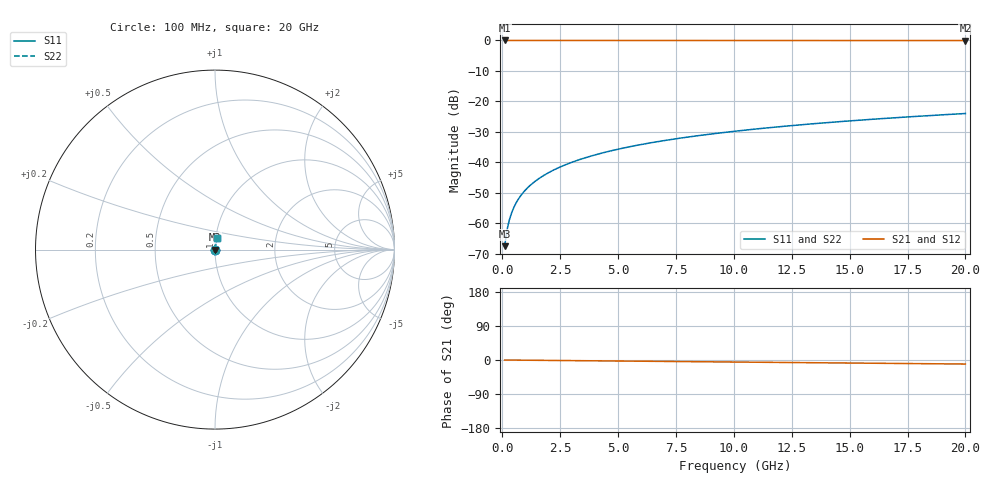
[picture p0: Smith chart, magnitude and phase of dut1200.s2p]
! Touchstone file exported from HFSS 2026.1.0
!  File:  C:/ffzhzh/LocalFiles/Ansys_Project_Files/temp_train_TSV_1200_1783192615_22436.aedt
!  Generated:  03:18:39 AM Jul  5, 2026
!  Design:  TSV
!  Project:  temp_train_TSV_1200_1783192615_22436
! Variables:
!  h_bsmrdl = 2um
!  h_ox = 20um
!  h_rdl = 5um
!  h_sub = 99.35um
!  h_tmrdl = 5um
!  h_tsv = 99.35um
!  h_via = 3um
!  l_bsmrdl = 300um
!  l_sub = 416.28um
!  l_tmrdl = 200um
!  m_sub = 200um
!  pitch = 53.07um
!  r_tsv = 8.14um
!  s_tmrdl = 10um
!  w_bsmrdl = 18um
!  w_sub = 500um
!  w_tmrdl = 12um
!  x_tsv_center1 = 206um
!  x_tsv_center2 = 524um
!  x_tsv_center3 = 736um
!  x_tsv_center4 = 1054um
!  x_tsv_center5 = 1266um
!  x_tsv_center6 = 1584um
# GHz S MA R 50.000000
! Terminal data exported
! Port[1] = TSV1_1_T1
! Port[2] = TSV1_1_T2
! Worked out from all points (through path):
!   200 points, 100 MHz to 20 GHz, reference 50 ohm
!   highest |S21| = 0.00 dB at 100 MHz (marker M1); lowest = 0.0 dB at 20 GHz (marker M2)
!   group delay of S21, straight-line fit = 1.48 ps
!   lowest |S11| = -67.5 dB at 100 MHz (marker M3), VSWR 1.00, Z = 50 + j0.0368 ohm
!   |S11| at or under -10 dB: start of sweep to end of sweep
!   |S22| runs from -67.5 to -24.0 dB; largest |S21 - S12| = 5.3e-15
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0.1  0.0004214 60.8  0.9998 -0.1  0.9998 -0.1  0.0004214 60.8
! Gamma 0 0 0 0
! Port Impedance 50 0 50 0
0.2  0.000765 73.4  0.9998 -0.1  0.9998 -0.1  0.000765 73.4
0.3  0.00112 77.8  0.9998 -0.2  0.9998 -0.2  0.00112 77.8
0.4  0.001475 79.8  0.9997 -0.2  0.9997 -0.2  0.001475 79.8
0.5  0.001826 80.9  0.9997 -0.3  0.9997 -0.3  0.001826 80.9
0.6  0.002172 81.6  0.9997 -0.3  0.9997 -0.3  0.002172 81.6
0.7  0.002514 82.0  0.9997 -0.4  0.9997 -0.4  0.002514 82.0
0.8  0.002852 82.4  0.9996 -0.4  0.9996 -0.4  0.002852 82.4
1  0.003519 82.9  0.9996 -0.6  0.9996 -0.6  0.003519 82.9
1.4  0.00483 83.5  0.9995 -0.8  0.9995 -0.8  0.00483 83.5
1.7  0.005806 83.9  0.9995 -0.9  0.9995 -0.9  0.005806 83.9
2  0.006778 84.1  0.9994 -1.1  0.9994 -1.1  0.006778 84.1
2.7  0.009042 84.5  0.9993 -1.5  0.9993 -1.5  0.009042 84.5
3.5  0.01162 84.5  0.9992 -1.9  0.9992 -1.9  0.01162 84.5
4.2  0.01387 84.5  0.9991 -2.3  0.9991 -2.3  0.01387 84.5
5  0.01643 84.3  0.999 -2.7  0.999 -2.7  0.01643 84.3
6.8  0.02216 83.7  0.9987 -3.7  0.9987 -3.7  0.02216 83.7
8.3  0.02691 83.2  0.9985 -4.4  0.9985 -4.4  0.02691 83.2
10.1  0.03258 82.4  0.9982 -5.4  0.9982 -5.4  0.03258 82.4
13.4  0.04291 81.0  0.9977 -7.2  0.9977 -7.2  0.04291 81.0
16.7  0.05315 79.4  0.997 -8.9  0.997 -8.9  0.05315 79.4
20  0.06328 77.8  0.9963 -10.6  0.9963 -10.6  0.06328 77.8
